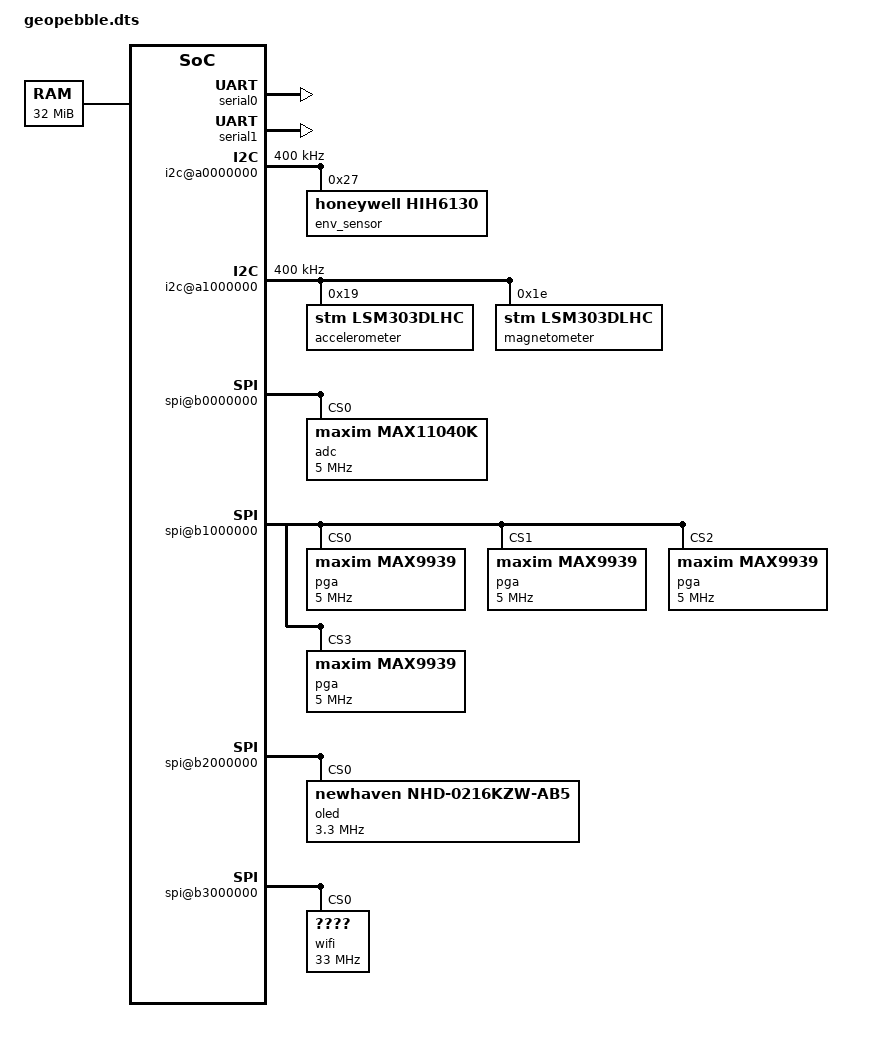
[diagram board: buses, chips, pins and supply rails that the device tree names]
/dts-v1/;
/ {
	compatible = "opencores,or1ksim";
	#address-cells = <1>;
	#size-cells = <1>;
	interrupt-parent = <&pic>;

	chosen {
		bootargs = "console=uart,mmio,0x90000000,115200";
	};

	memory@0 {
		device_type = "memory";
		reg = <0x00000000 0x02000000>;
	};

	cpus {
		#address-cells = <1>;
		#size-cells = <0>;
		cpu@0 {
			compatible = "opencores,or1200-rtlsvn481";
			reg = <0>;
			clock-frequency = <50000000>;
		};
	};

	/*
	 * OR1K PIC is built into CPU and accessed via special purpose
	 * registers.  It is not addressable and, hence, has no 'reg'
	 * property.
	 */
	pic: pic {
		compatible = "opencores,or1k-pic";
		#interrupt-cells = <1>;
		interrupt-controller;
	};

	serial0: serial@90000000 {
		compatible = "opencores,uart16550-rtlsvn105", "ns16550a";
		reg = <0x90000000 0x100>;
		interrupts = <2>;
		clock-frequency = <50000000>;
	};

	serial1: serial@91000000 {
		compatible = "opencores,uart16550-rtlsvn105", "ns16550a";
		reg = <0x91000000 0x100>;
		interrupts = <3>;
		clock-frequency = <50000000>;
	};

        i2c@a0000000 {
		compatible = "opencores,i2c-ocores";
		reg = <0xa0000000 0x8>;
		reg-shift = <0>;        /* 8 bit registers */
		interrupts = <14>;
		clock-frequency = <400000>;
		#address-cells = <1>;
		#size-cells = <0>;
		env_sensor@27 {	 /* U9 */
			compatible = "honeywell,hih6130";
			reg = <0x27>;
		};
        };
        i2c@a1000000 {
		compatible = "opencores,i2c-ocores";
		reg = <0xa1000000 0x8>;
		reg-shift = <0>;        /* 8 bit registers */
		interrupts = <15>;
		clock-frequency = <400000>;
		#address-cells = <1>;
		#size-cells = <0>;
		accelerometer@19 {	/* U10, Linear acceleration digital interface */
			compatible = "stm,lsm303dlhc";
			reg = <0x19>;
		};
		magnetometer@1e {	/* U10, Magnetic field digital interface */
			compatible = "stm,lsm303dlhc";
			reg = <0x1e>;
		};
        };

        spi@b0000000 {
		compatible = "opencores,spi-simple";
		reg = <0xb0000000 0x4>;
		interrupts = <7>;
		#address-cells = <1>;
		#size-cells = <0>;
		adc@0 {
			#address-cells = <1>;
			#size-cells = <1>;
			spi-max-frequency = <5000000>;	/* 1/10 of specified max (50ns). Not sure on board signal quality */
			compatible = "maxim,max11040k";
			reg = <0>;
		};
        };

        spi@b1000000 {
		compatible = "opencores,spi-simple";
		reg = <0xb1000000 0x4>;
		interrupts = <8>;
		#address-cells = <1>;
		#size-cells = <0>;
		pga@0 {		/* U2 */
			#address-cells = <1>;
			#size-cells = <1>;
			spi-max-frequency = <5000000>;
			compatible = "maxim,max9939";
			reg = <0>;
		};
		pga@1 {		/* U4 */
			#address-cells = <1>;
			#size-cells = <1>;
			spi-max-frequency = <5000000>; 
			compatible = "maxim,max9939";
			reg = <1>;
		};
		pga@2 {		/* U6 */
			#address-cells = <1>;
			#size-cells = <1>;
			spi-max-frequency = <5000000>;
			compatible = "maxim,max9939";
			reg = <2>;
		};
		pga@3 {		/* U8 */
			#address-cells = <1>;
			#size-cells = <1>;
			spi-max-frequency = <5000000>;
			compatible = "maxim,max9939";
			reg = <3>;
		};
        };

        spi@b2000000 {
		compatible = "opencores,spi-simple";
		reg = <0xb2000000 0x4>;
		interrupts = <9>;
		#address-cells = <1>;
		#size-cells = <0>;
		oled@0 {
			#address-cells = <1>;
			#size-cells = <1>;
			spi-max-frequency = <3300000>;
			compatible = "newhaven,nhd‐0216kzw‐ab5";
			reg = <0>;
		};
        };

        spi@b3000000 {
		compatible = "opencores,spi-simple";
		reg = <0xb3000000 0x4>;
		interrupts = <10>;
		#address-cells = <1>;
		#size-cells = <0>;
		wifi@0 {
			#address-cells = <1>;
			#size-cells = <1>;
			spi-max-frequency = <33000000>;
			compatible = "????";
			reg = <0>;
		};
        };
};
